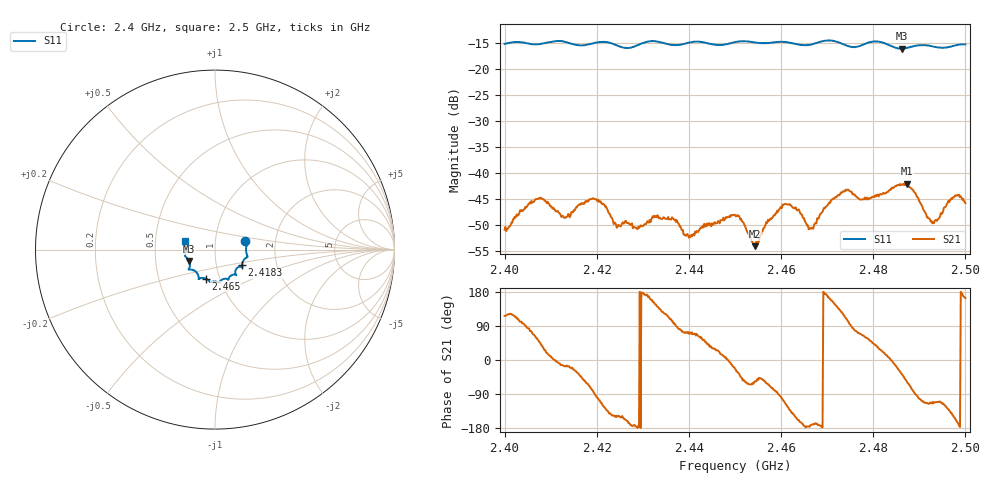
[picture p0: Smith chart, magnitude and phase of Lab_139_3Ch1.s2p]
# Hz S RI R 50
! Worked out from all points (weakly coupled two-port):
!   601 points, 2.4 GHz to 2.5 GHz, reference 50 ohm
!   highest |S21| = -42.03 dB at 2.4873 GHz (marker M1); lowest = -54.0 dB at 2.4543 GHz (marker M2)
!   lowest |S11| = -16.1 dB at 2.4862 GHz (marker M3), VSWR 1.37, Z = 37.2 - j4.81 ohm
!   |S11| at or under -10 dB: start of sweep to end of sweep
!   S12 and S22 are empty: the file has one direction only
!   S11 on the Smith chart (normalised r, x): 2.4 GHz: 1.40, +0.14; 2.4183 GHz: 1.33, -0.24; 2.465 GHz: 0.86, -0.29; 2.5 GHz: 0.71, +0.07
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2.4e9  0.1686 0.047  -0.00127 0.00257  0 0  0 0
2.407167e9  0.1731 -0.00541  0.00335 0.00457  0 0  0 0
2.412833e9  0.1794 -0.0426  0.00362 -0.001  0 0  0 0
2.416667e9  0.1547 -0.0683  0.00364 -0.00363  0 0  0 0
2.418333e9  0.1501 -0.0868  0.00206 -0.00519  0 0  0 0
2.421167e9  0.153 -0.1001  -0.00224 -0.00452  0 0  0 0
2.424667e9  0.1372 -0.0951  -0.0027 -0.00169  0 0  0 0
2.433333e9  0.1175 -0.141  -0.00292 0.00249  0 0  0 0
2.440333e9  0.0756 -0.1648  0.000821 0.00229  0 0  0 0
2.45e9  0.026 -0.1802  0.00365 -0.00157  0 0  0 0
2.454333e9  0.0124 -0.1802  0.00111 -0.00165  0 0  0 0
2.460833e9  -0.0288 -0.1802  -0.00199 -0.00465  0 0  0 0
2.465e9  -0.0524 -0.1616  -0.00367 -0.000412  0 0  0 0
2.466667e9  -0.0713 -0.1578  -0.00294 -0.000505  0 0  0 0
2.4735e9  -0.0921 -0.1471  -0.00339 0.00579  0 0  0 0
2.4775e9  -0.1273 -0.1121  0.00223 0.00512  0 0  0 0
2.483333e9  -0.1413 -0.0966  0.00669 0.000789  0 0  0 0
2.486167e9  -0.1439 -0.0632  0.00621 -0.0046  0 0  0 0
2.487333e9  -0.1516 -0.0517  0.00417 -0.00673  0 0  0 0
2.492833e9  -0.1641 -0.0218  -0.00139 -0.00299  0 0  0 0
2.497833e9  -0.1658 0.0342  -0.00559 -0.00251  0 0  0 0
2.5e9  -0.1666 0.0465  -0.00493 0.00149  0 0  0 0
